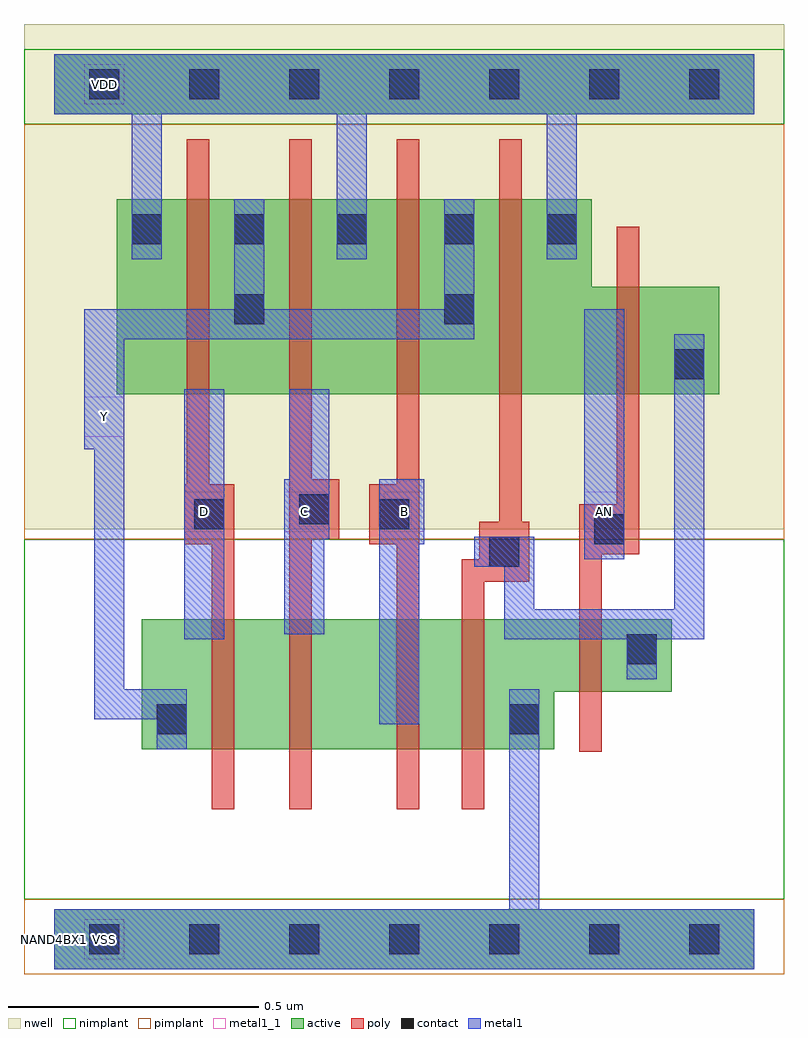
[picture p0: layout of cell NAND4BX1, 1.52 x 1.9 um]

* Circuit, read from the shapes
.subckt NAND4BX1 AN B C D VDD VSS Y
M1 n1 D Y VSS nfet w=0.26u l=0.045u
M2 n2 C n1 VSS nfet w=0.26u l=0.045u
M3 n3 B n2 VSS nfet w=0.26u l=0.045u
M4 VSS n4 n3 VSS nfet w=0.26u l=0.045u
M5 n4 AN VSS VSS nfet w=0.145u l=0.045u
M6 Y D VDD VDD pfet w=0.39u l=0.045u
M7 VDD C Y VDD pfet w=0.39u l=0.045u
M8 Y B VDD VDD pfet w=0.39u l=0.045u
M9 VDD n4 Y VDD pfet w=0.39u l=0.045u
M10 n4 AN VDD VDD pfet w=0.215u l=0.045u
.ends

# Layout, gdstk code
import gdstk
lib = gdstk.Library(unit=1e-6, precision=5e-10)
def R(c, l, rs):  # rectangles x0, y0, x1, y1
    for r in rs: c.add(gdstk.rectangle(r[:2], r[2:], *l))
def A(c, l, x, y, w, h, nx, ny, dx, dy):  # array of equal rectangles
    R(c, l, [(x+i*dx, y+j*dy, x+i*dx+w, y+j*dy+h) for i in range(nx) for j in range(ny)])
def P(c, l, *ps):  # polygons
    for p in ps: c.add(gdstk.Polygon(p, *l))
active = (1, 0)
nwell = (2, 0)
poly = (3, 0)
nimplant = (4, 0)
pimplant = (5, 0)
contact = (6, 0)
metal1 = (7, 0)
metal1_1 = (7, 1)

nand4bx1 = lib.new_cell('NAND4BX1')
R(nand4bx1, active, [(0,-0.06,1.4,0.06), (0,1.65,1.4,1.77)])
P(nand4bx1, active, [(0.125,1.48),(1.075,1.48),(1.075,1.305),(1.33,1.305),(1.33,1.09),(0.125,1.09)],
  [(0.175,0.64),(1.235,0.64),(1.235,0.495),(1,0.495),(1,0.38),(0.175,0.38)])
R(nand4bx1, nwell, [(-0.06,0.82,1.46,1.83)])
P(nand4bx1, poly, [(0.265,1.6),(0.31,1.6),(0.31,0.91),(0.36,0.91),(0.36,0.26),(0.315,0.26),(0.315,0.79),(0.26,0.79),(0.26,0.91),(0.265,0.91)],
  [(0.47,1.6),(0.515,1.6),(0.515,0.92),(0.57,0.92),(0.57,0.8),(0.515,0.8),(0.515,0.26),(0.47,0.26)],
  [(0.685,1.6),(0.73,1.6),(0.73,0.26),(0.685,0.26),(0.685,0.79),(0.63,0.79),(0.63,0.91),(0.685,0.91)],
  [(0.89,1.6),(0.935,1.6),(0.935,0.835),(0.95,0.835),(0.95,0.715),(0.86,0.715),(0.86,0.26),(0.815,0.26),(0.815,0.76),(0.85,0.76),(0.85,0.835),(0.89,0.835)],
  [(1.125,1.425),(1.17,1.425),(1.17,0.77),(1.095,0.77),(1.095,0.375),(1.05,0.375),(1.05,0.87),(1.125,0.87)])
R(nand4bx1, nimplant, [(-0.06,0.08,1.46,0.8), (-0.06,1.63,1.46,1.78)])
R(nand4bx1, pimplant, [(-0.06,-0.07,1.46,0.08), (-0.06,0.8,1.46,1.63)])
A(nand4bx1, contact, 0.07, -0.03, 0.06, 0.06, 7, 2, 0.2, 1.71)
A(nand4bx1, contact, 0.155, 1.39, 0.06, 0.06, 3, 1, 0.205, 0)
R(nand4bx1, contact, [(0.205,0.41,0.265,0.47), (0.91,0.41,0.97,0.47), (1.145,0.55,1.205,0.61), (0.87,0.745,0.93,0.805), (1.08,0.79,1.14,0.85), (0.28,0.82,0.34,0.88), (0.65,0.82,0.71,0.88), (0.49,0.83,0.55,0.89), (1.24,1.12,1.3,1.18), (0.36,1.23,0.42,1.29), (0.78,1.23,0.84,1.29), (0.78,1.39,0.84,1.45), (0.985,1.39,1.045,1.45)])
R(nand4bx1, metal1, [(0.26,0.6,0.34,1.1), (1.06,0.76,1.14,1.26)])
P(nand4bx1, metal1, [(0,1.77),(1.4,1.77),(1.4,1.65),(1.045,1.65),(1.045,1.36),(0.985,1.36),(0.985,1.65),(0.625,1.65),(0.625,1.36),(0.565,1.36),(0.565,1.65),(0.215,1.65),(0.215,1.36),(0.155,1.36),(0.155,1.65),(0,1.65)],
  [(0.36,1.48),(0.42,1.48),(0.42,1.26),(0.78,1.26),(0.78,1.48),(0.84,1.48),(0.84,1.2),(0.14,1.2),(0.14,0.5),(0.265,0.5),(0.265,0.38),(0.205,0.38),(0.205,0.44),(0.08,0.44),(0.08,0.98),(0.06,0.98),(0.06,1.26),(0.36,1.26)],
  [(0.84,0.805),(0.96,0.805),(0.96,0.66),(1.24,0.66),(1.24,1.21),(1.3,1.21),(1.3,0.6),(1.205,0.6),(1.205,0.52),(1.145,0.52),(1.145,0.6),(0.9,0.6),(0.9,0.745),(0.84,0.745)],
  [(0.65,0.92),(0.74,0.92),(0.74,0.79),(0.73,0.79),(0.73,0.43),(0.65,0.43)],
  [(0.47,1.1),(0.55,1.1),(0.55,0.8),(0.54,0.8),(0.54,0.61),(0.46,0.61),(0.46,0.92),(0.47,0.92)],
  [(0.91,0.5),(0.97,0.5),(0.97,0.06),(1.4,0.06),(1.4,-0.06),(0,-0.06),(0,0.06),(0.91,0.06)])
A(nand4bx1, metal1_1, 0.26, 0.815, 0.08, 0.08, 3, 1, 0.2, 0)
R(nand4bx1, metal1_1, [(0.06,-0.04,0.14,0.04), (1.06,0.815,1.14,0.895), (0.06,1.005,0.14,1.085), (0.06,1.67,0.14,1.75)])
nand4bx1.add(gdstk.Label('Y', (0.1,1.045), layer=7, texttype=1))
nand4bx1.add(gdstk.Label('AN', (1.1,0.855), layer=7, texttype=1))
nand4bx1.add(gdstk.Label('B', (0.7,0.855), layer=7, texttype=1))
nand4bx1.add(gdstk.Label('C', (0.5,0.855), layer=7, texttype=1))
nand4bx1.add(gdstk.Label('D', (0.3,0.855), layer=7, texttype=1))
nand4bx1.add(gdstk.Label('VDD', (0.1,1.71), layer=7, texttype=1))
nand4bx1.add(gdstk.Label('VSS', (0.1,0), layer=7, texttype=1))
nand4bx1.add(gdstk.Label('NAND4BX1', (0,0), layer=63, texttype=0))

lib.write_gds('NAND4BX1.gds')
